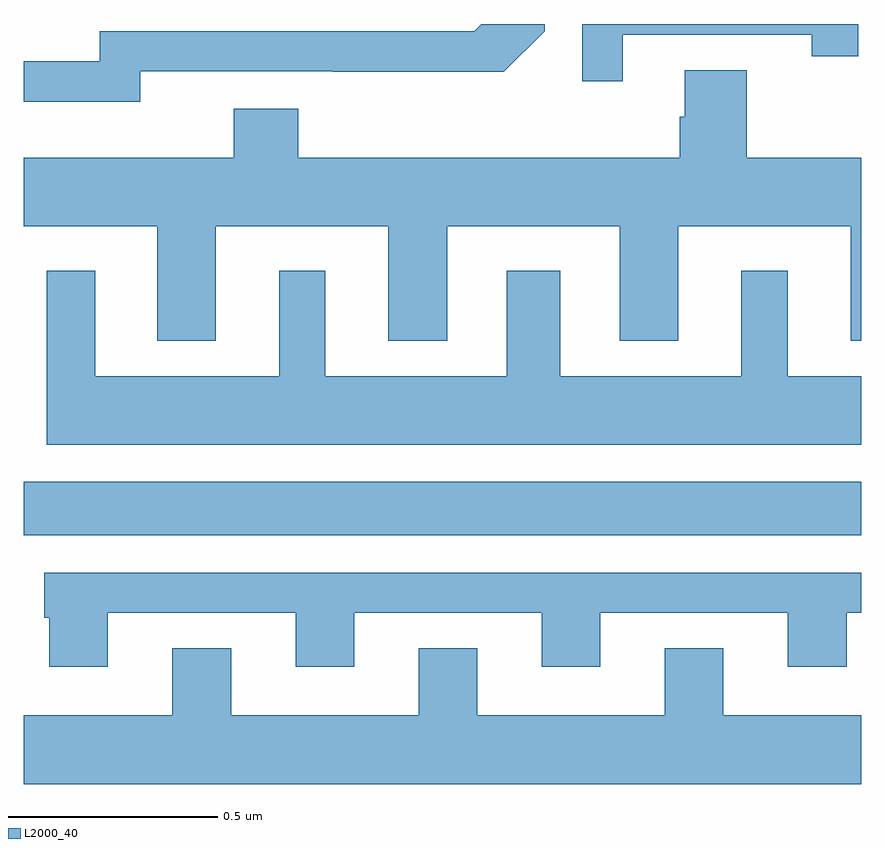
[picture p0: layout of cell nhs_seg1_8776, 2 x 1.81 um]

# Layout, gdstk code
import gdstk
lib = gdstk.Library(unit=1e-6, precision=1e-09)
def R(c, l, rs):  # rectangles x0, y0, x1, y1
    for r in rs: c.add(gdstk.rectangle(r[:2], r[2:], *l))
def P(c, l, *ps):  # polygons
    for p in ps: c.add(gdstk.Polygon(p, *l))
L2000_40 = (2000, 40)

nhs_seg1_8776 = lib.new_cell('nhs_seg1_8776')
R(nhs_seg1_8776, L2000_40, [(220,566.978,222,567.106)])
P(nhs_seg1_8776, L2000_40, [(221.431,568.173),(221.882,568.173),(221.882,568.122),(221.993,568.122),(221.993,568.199),(221.334,568.199),(221.334,568.062),(221.431,568.062)],
  [(220.278,568.086),(220.738,568.086),(220.738,568.085),(221.146,568.085),(221.244,568.182),(221.244,568.199),(221.093,568.199),(221.076,568.182),(220.182,568.182),(220.182,568.11),(220,568.11),(220,568.013),(220.278,568.013)],
  [(220.459,567.716),(220.871,567.716),(220.871,567.443),(221.011,567.443),(221.011,567.716),(221.423,567.716),(221.423,567.443),(221.563,567.443),(221.563,567.716),(221.975,567.716),(221.975,567.443),(222,567.443),(222,567.88),(221.727,567.88),(221.727,568.088),(221.579,568.088),(221.579,567.978),(221.567,567.978),(221.567,567.88),(220.655,567.88),(220.655,567.997),(220.502,567.997),(220.502,567.88),(220,567.88),(220,567.716),(220.319,567.716),(220.319,567.443),(220.459,567.443)],
  [(222,567.358),(221.824,567.358),(221.824,567.61),(221.714,567.61),(221.714,567.358),(221.281,567.358),(221.281,567.61),(221.153,567.61),(221.153,567.358),(220.72,567.358),(220.72,567.61),(220.61,567.61),(220.61,567.358),(220.171,567.358),(220.171,567.61),(220.055,567.61),(220.055,567.194),(222,567.194)],
  [(220.201,566.793),(220.649,566.793),(220.649,566.664),(220.789,566.664),(220.789,566.793),(221.237,566.793),(221.237,566.664),(221.377,566.664),(221.377,566.793),(221.825,566.793),(221.825,566.664),(221.965,566.664),(221.965,566.793),(222,566.793),(222,566.889),(220.049,566.889),(220.049,566.781),(220.061,566.781),(220.061,566.664),(220.201,566.664)],
  [(222,566.548),(221.671,566.548),(221.671,566.708),(221.531,566.708),(221.531,566.548),(221.083,566.548),(221.083,566.708),(220.943,566.708),(220.943,566.548),(220.495,566.548),(220.495,566.708),(220.355,566.708),(220.355,566.548),(220,566.548),(220,566.384),(222,566.384)])

lib.write_gds('nhs_seg1_8776.gds')
